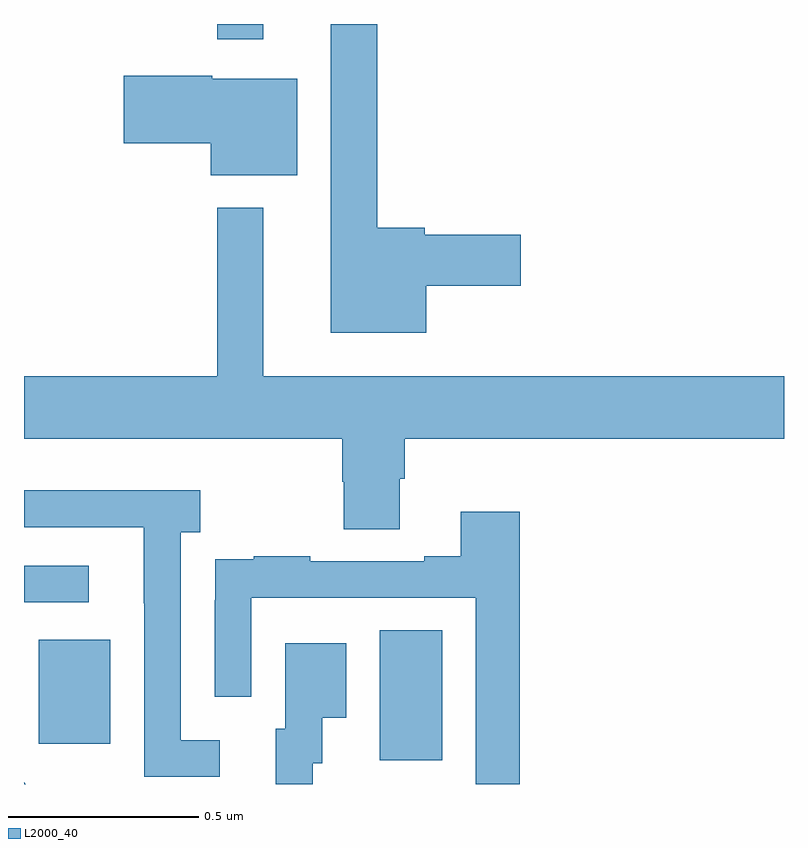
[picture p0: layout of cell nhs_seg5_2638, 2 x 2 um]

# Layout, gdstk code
import gdstk
lib = gdstk.Library(unit=1e-6, precision=1e-09)
def R(c, l, rs):  # rectangles x0, y0, x1, y1
    for r in rs: c.add(gdstk.rectangle(r[:2], r[2:], *l))
def P(c, l, *ps):  # polygons
    for p in ps: c.add(gdstk.Polygon(p, *l))
L2000_40 = (2000, 40)

nhs_seg5_2638 = lib.new_cell('nhs_seg5_2638')
R(nhs_seg5_2638, L2000_40, [(146.936,907.861,147.1,908.204), (146.039,907.905,146.227,908.179), (146,908.277,146.17,908.373), (146.508,909.759,146.629,909.799)])
P(nhs_seg5_2638, L2000_40, [(147.058,909.11),(147.307,909.11),(147.307,909.245),(147.054,909.245),(147.054,909.263),(146.929,909.263),(146.929,909.799),(146.807,909.799),(146.807,908.987),(147.058,908.987)],
  [(146.719,909.655),(146.496,909.655),(146.496,909.663),(146.262,909.663),(146.262,909.485),(146.492,909.485),(146.492,909.401),(146.719,909.401)],
  [(146.989,908.602),(147.002,908.602),(147.002,908.708),(148,908.708),(148,908.872),(146.629,908.872),(146.629,909.316),(146.508,909.316),(146.508,908.872),(146,908.872),(146,908.708),(146.837,908.708),(146.837,908.595),(146.842,908.595),(146.842,908.47),(146.989,908.47)],
  [(146.515,907.914),(146.412,907.914),(146.412,908.462),(146.464,908.462),(146.464,908.572),(146,908.572),(146,908.475),(146.315,908.475),(146.315,908.275),(146.316,908.275),(146.316,907.818),(146.515,907.818)],
  [(147.305,908.515),(147.149,908.515),(147.149,908.398),(147.053,908.398),(147.053,908.385),(146.753,908.385),(146.753,908.398),(146.605,908.398),(146.605,908.391),(146.503,908.391),(146.503,908.282),(146.502,908.282),(146.502,908.028),(146.598,908.028),(146.598,908.289),(147.189,908.289),(147.189,907.799),(147.305,907.799)],
  [(146.76,907.854),(146.785,907.854),(146.785,907.973),(146.848,907.973),(146.848,908.17),(146.687,908.17),(146.687,907.944),(146.663,907.944),(146.663,907.799),(146.76,907.799)],
  [(146,907.804),(146,907.799),(146.005,907.799)])

lib.write_gds('nhs_seg5_2638.gds')
